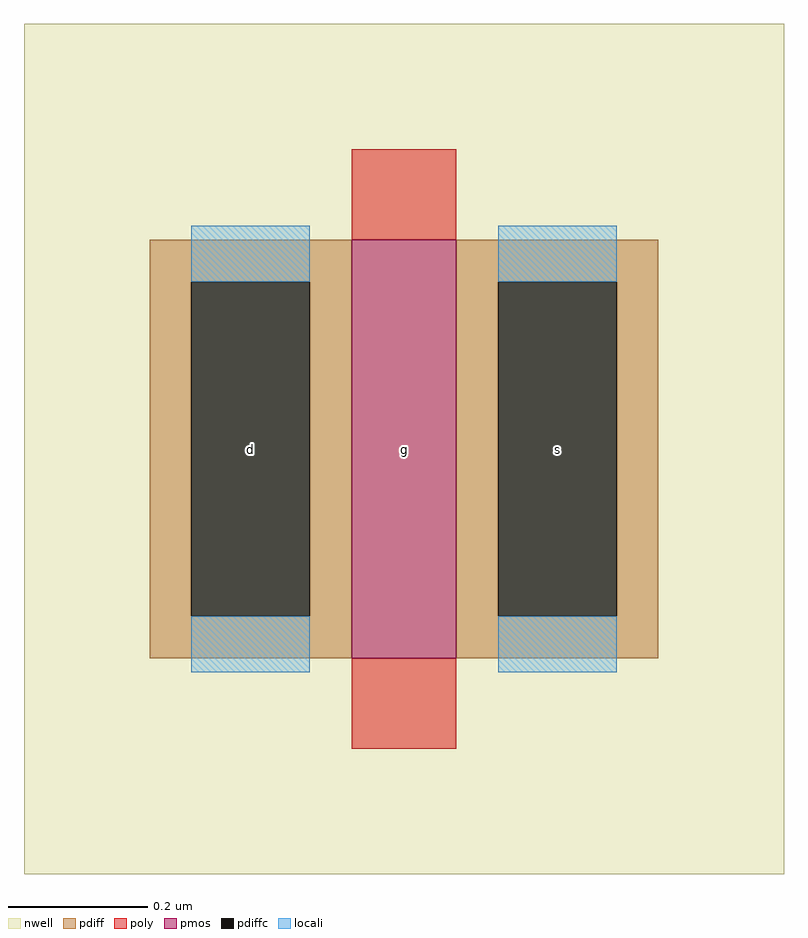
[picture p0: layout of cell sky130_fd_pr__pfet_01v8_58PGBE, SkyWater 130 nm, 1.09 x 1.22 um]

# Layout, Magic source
magic
tech sky130A
magscale 1 2
<< nwell >>
rect -109 -122 109 122
<< pmos >>
rect -15 -60 15 60
<< pdiff >>
rect -73 48 -15 60
rect -73 -48 -61 48
rect -27 -48 -15 48
rect -73 -60 -15 -48
rect 15 48 73 60
rect 15 -48 27 48
rect 61 -48 73 48
rect 15 -60 73 -48
<< pdiffc >>
rect -61 -48 -27 48
rect 27 -48 61 48
<< poly >>
rect -15 60 15 86
rect -15 -86 15 -60
<< locali >>
rect -61 48 -27 64
rect -61 -64 -27 -48
rect 27 48 61 64
rect 27 -64 61 -48
<< labels >>
flabel pdiffc -44 0 -44 0 0 FreeSans 80 0 0 0 d
flabel pdiffc 44 0 44 0 0 FreeSans 80 0 0 0 s
flabel pmos -15 -60 15 60 0 FreeSans 80 0 0 0 g
<< properties >>
string gencell sky130_fd_pr__pfet_01v8
string library sky130
string parameters w 0.6 l 0.15 m 1 nf 1 diffcov 100 polycov 100 guard 0 glc 0 grc 0 gtc 0 gbc 0 tbcov 100 rlcov 100 topc 0 botc 0 poverlap 0 doverlap 1 lmin 0.15 wmin 0.42 compatible {sky130_fd_pr__pfet_01v8  sky130_fd_pr__pfet_01v8_lvt sky130_fd_pr__pfet_01v8_hvt  sky130_fd_pr__pfet_g5v0d10v5} full_metal 1 viasrc 100 viadrn 100 viagate 100 viagb 0 viagr 0 viagl 0 viagt 0
<< end >>
